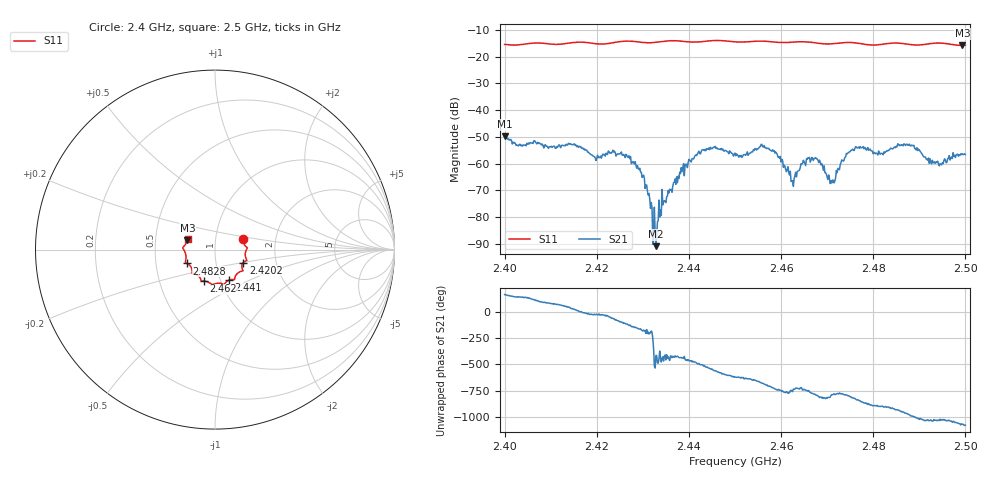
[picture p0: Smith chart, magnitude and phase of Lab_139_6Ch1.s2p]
# Hz S RI R 50
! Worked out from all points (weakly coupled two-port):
!   601 points, 2.4 GHz to 2.5 GHz, reference 50 ohm
!   highest |S21| = -49.67 dB at 2.4 GHz (marker M1); lowest = -90.8 dB at 2.4328 GHz (marker M2)
!   lowest |S11| = -15.8 dB at 2.4993 GHz (marker M3), VSWR 1.39, Z = 36.5 + j3.9 ohm
!   |S11| at or under -10 dB: start of sweep to end of sweep
!   S12 and S22 are empty: the file has one direction only
!   S11 on the Smith chart (normalised r, x): 2.4 GHz: 1.36, +0.17; 2.4202 GHz: 1.36, -0.20; 2.441 GHz: 1.10, -0.39; 2.462 GHz: 0.83, -0.30; 2.4828 GHz: 0.72, -0.11; 2.5 GHz: 0.73, +0.09
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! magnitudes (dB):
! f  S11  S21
! 2.4 GHz  -15.4  -49.7
! 2.4167 GHz  -14.6  -54.1
! 2.4202 GHz  -15.2  -56.9
! 2.4268 GHz  -14.2  -57.6
! 2.4298 GHz  -14.7  -65.1
! 2.4328 GHz  -14.6  -90.8
! 2.4333 GHz  -14.5  -81.3
! 2.441 GHz  -14.6  -58.2
! 2.4452 GHz  -14.0  -54.1
! 2.45 GHz  -14.4  -56.0
! 2.4562 GHz  -14.2  -53.8
! 2.4587 GHz  -14.5  -56.0
! 2.462 GHz  -14.6  -62.8
! 2.4667 GHz  -14.6  -57.7
! 2.4712 GHz  -15.2  -66.1
! 2.4758 GHz  -14.8  -55.1
! 2.4828 GHz  -15.1  -55.4
! 2.4833 GHz  -15.0  -54.9
! 2.4883 GHz  -15.5  -53.0
! 2.4947 GHz  -14.9  -60.2
! 2.4993 GHz  -15.8  -56.3
! 2.5 GHz  -15.7  -56.6
